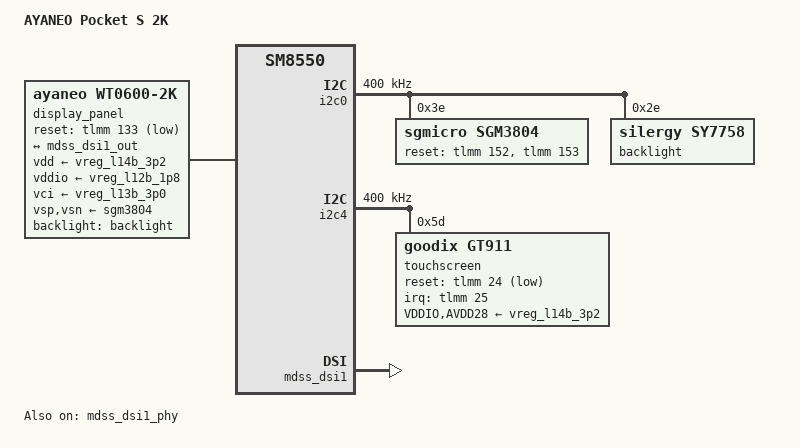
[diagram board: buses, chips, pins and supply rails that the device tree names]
// SPDX-License-Identifier: BSD-3-Clause
/*
 * Copyright (c) 2025, Teguh Sobirin.
 * Copyright (c) 2025, ROCKNIX (https://github.com/ROCKNIX)
 *
 * AYANEO Pocket S 2K (slot 13) — dual-DSI wt0600-2k panel, gt911 touch.
 * Derived from reference slot-13 + ayaneo pocket common.
 */

/dts-v1/;

#include "qcs8550-ayaneo-pocket-common.dtsi"

/ {
	model = "AYANEO Pocket S 2K";
	qcom,board-id = <0x1000b 0x01>;
	qcom,msm-id = <0x258 0x20000>, <0x259 0x20000>;
	compatible = "ayaneo,pocket-s1", "qcom,qcs8550", "qcom,sm8550";
	rocknix-u-boot-dt-id = "u-boot-pocket-s1";
};

&tlmm {
	panel_pwr_active: panel-pwr-active-state {
		pins = "gpio152", "gpio153";
		function = "gpio";
		drive-strength = <8>;
		bias-disable;
		output-high;
	};

	panel_pwr_sleep: panel-pwr-sleep-state {
		pins = "gpio152", "gpio153";
		function = "gpio";
		output-low;
	};

	backlight_pwr_active: backlight-pwr-active-state {
		pins = "gpio41";
		function = "gpio";
		drive-strength = <8>;
		bias-disable;
		output-high;
	};

	backlight_pwr_sleep: backlight-pwr-sleep-state {
		pins = "gpio41";
		function = "gpio";
		output-low;
	};

	ts_int_active: ts-int-active-state {
		pins = "gpio25";
		function = "gpio";
		drive-strength = <8>;
		bias-pull-up;
	};

	ts_reset_active: ts-reset-active-state {
		pins = "gpio24";
		function = "gpio";
		drive-strength = <8>;
		bias-pull-up;
	};

	ts_int_suspend: ts-int-suspend-state {
		pins = "gpio25";
		function = "gpio";
		drive-strength = <2>;
		bias-pull-down;
	};

	ts_reset_suspend: ts-reset-suspend-state {
		pins = "gpio24";
		function = "gpio";
		drive-strength = <2>;
		bias-pull-down;
	};
};

&i2c0 {
	clock-frequency = <400000>;
	status = "okay";

	sgm3804: regulator@3e {
		compatible = "sgmicro,sgm3804";
		reg = <0x3e>;
		pinctrl-0 = <&panel_pwr_active>;
		pinctrl-1 = <&panel_pwr_sleep>;
		pinctrl-names = "default", "sleep";
		regulator-name = "panel-avdd";
		regulator-min-microvolt = <5000000>;
		regulator-max-microvolt = <5000000>;
		reset-gpios = <&tlmm 152 GPIO_ACTIVE_HIGH>, <&tlmm 153 GPIO_ACTIVE_HIGH>;
	};

	backlight: sy7758@2e {
		compatible = "silergy,sy7758";
		reg = <0x2e>;
		pinctrl-0 = <&backlight_pwr_active>;
		pinctrl-1 = <&backlight_pwr_sleep>;
		pinctrl-names = "default", "sleep";
		status = "okay";
	};
};

&i2c4 {
	clock-frequency = <400000>;
	status = "okay";

	touchscreen@5d {
		compatible = "goodix,gt911";
		reg = <0x5d>;

		interrupt-parent = <&tlmm>;
		interrupts = <25 IRQ_TYPE_EDGE_FALLING>;

		reset-gpios = <&tlmm 24 GPIO_ACTIVE_LOW>;

		VDDIO-supply = <&vreg_l14b_3p2>;
		AVDD28-supply = <&vreg_l14b_3p2>;

		touchscreen-size-x = <1440>;
		touchscreen-size-y = <2560>;

		pinctrl-names = "default", "sleep";
		pinctrl-0 = <&ts_int_active &ts_reset_active>;
		pinctrl-1 = <&ts_int_suspend &ts_reset_suspend>;
	};
};

&mdss_dsi0 {
	qcom,master-dsi;
	qcom,dual-dsi-mode;
	qcom,sync-dual-dsi;
};

&mdss_dsi1 {
	vdda-supply = <&vreg_l3e_1p2>;
	status = "okay";
};

&mdss_dsi1_phy {
	vdds-supply = <&vreg_l1e_0p88>;
	status = "okay";
};

&display_panel {
	compatible = "ayaneo,wt0600-2k", "renesas,r63419";

	vdd-supply = <&vreg_l14b_3p2>;
	vddio-supply = <&vreg_l12b_1p8>;
	vci-supply = <&vreg_l13b_3p0>;
	vsp-supply = <&sgm3804>;
	vsn-supply = <&sgm3804>;

	reset-gpios = <&tlmm 133 GPIO_ACTIVE_LOW>;
	backlight = <&backlight>;
	rotation = <90>;

	ports {
		#address-cells = <1>;
		#size-cells = <0>;

		port@1 {
			reg = <1>;

			panel1_in: endpoint {
				remote-endpoint = <&mdss_dsi1_out>;
			};
		};
	};
};

&mdss_dsi1_out {
	remote-endpoint = <&panel1_in>;
	data-lanes = <0 1 2 3>;
};
